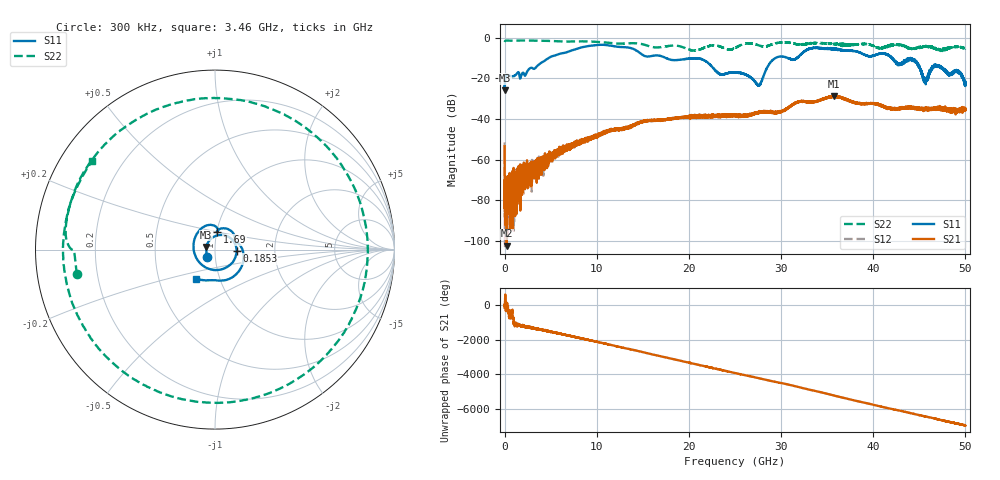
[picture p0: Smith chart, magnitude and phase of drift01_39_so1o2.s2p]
!Created with skrf (http://scikit-rf.org).
# Hz S RI R 50.0
!freq ReS11 ImS11 ReS21 ImS21 ReS12 ImS12 ReS22 ImS22
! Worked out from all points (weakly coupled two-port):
!   10001 points, 300 kHz to 50 GHz, reference 50 ohm
!   highest |S21| = -28.71 dB at 35.71 GHz (marker M1); lowest = -102.5 dB at 240.3 MHz (marker M2)
!   lowest |S11| = -25.8 dB at 5.3 MHz (marker M3), VSWR 1.11, Z = 45.3 + j1.39 ohm
!   |S11| at or under -10 dB: start of sweep to 4.763 GHz; 17.51 GHz to 29.4 GHz (11.89 GHz wide, 50.7 % of centre); 44.04 GHz to end of sweep (the widest 3 of 12)
!   |S22| runs from -6.5 to -1.4 dB; largest |S21 - S12| = 0.004
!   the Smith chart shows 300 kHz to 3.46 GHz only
!   S11 on the Smith chart (normalised r, x): 300 kHz: 0.91, -0.08; 185.3 MHz: 1.27, -0.02; 1.69 GHz: 1.00, +0.20; 3.46 GHz: 0.77, -0.26
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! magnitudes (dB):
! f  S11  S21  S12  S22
! 300 kHz  -24.0  -53.5  -51.5  -2.1
! 5.3 MHz  -25.8  -69.0  -72.5  -2.1
! 185.3 MHz  -18.4  -78.5  -87.3  -1.4
! 240.3 MHz  -18.3  -102.5  -77.7  -1.4
! 1.69 GHz  -20.1  -69.5  -69.5  -1.4
! 3.46 GHz  -14.3  -64.9  -64.4  -1.5
! 8.335 GHz  -4.8  -50.9  -50.9  -1.8
! 16.67 GHz  -8.8  -40.6  -40.7  -4.8
! 21.15 GHz  -10.3  -38.6  -38.9  -5.8
! 23.37 GHz  -17.8  -38.7  -38.3  -4.4
! 25 GHz  -17.0  -38.2  -38.4  -5.1
! 27.59 GHz  -23.6  -36.8  -36.7  -3.8
! 29.28 GHz  -10.3  -36.9  -36.7  -2.9
! 31.45 GHz  -10.9  -32.5  -32.4  -3.0
! 33.34 GHz  -5.1  -31.9  -31.6  -2.7
! 35.71 GHz  -5.4  -28.7  -28.8  -3.1
! 41.67 GHz  -8.8  -34.9  -35.1  -4.4
! 42.73 GHz  -13.3  -34.6  -34.8  -3.3
! 44.46 GHz  -11.0  -34.1  -34.7  -5.4
! 45.63 GHz  -20.6  -35.2  -35.2  -4.3
! 46.85 GHz  -13.9  -34.4  -35.0  -5.6
! 50 GHz  -21.8  -35.6  -35.0  -5.4
